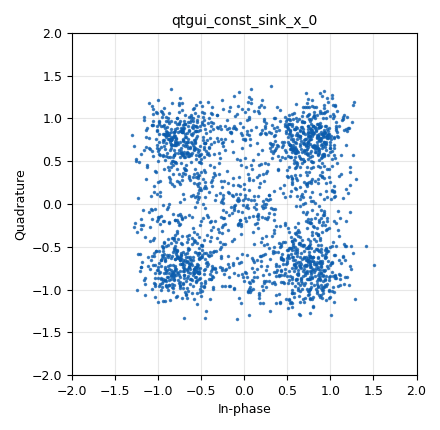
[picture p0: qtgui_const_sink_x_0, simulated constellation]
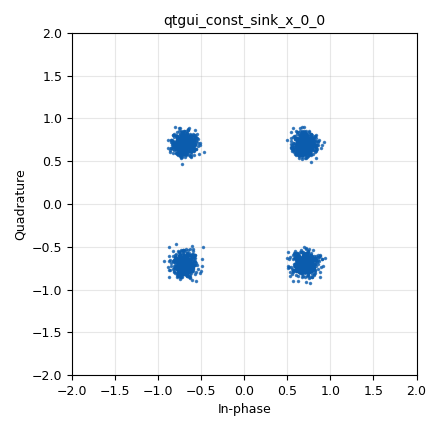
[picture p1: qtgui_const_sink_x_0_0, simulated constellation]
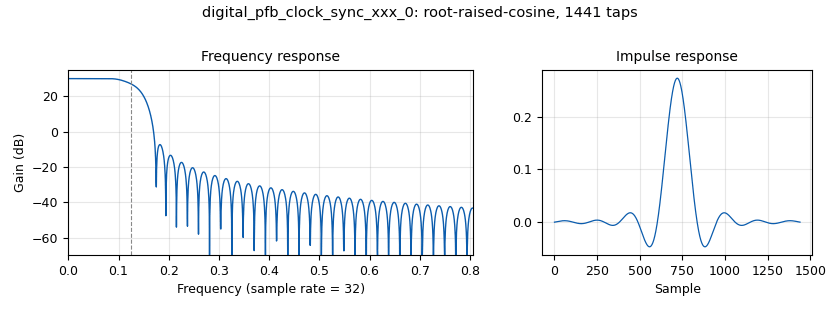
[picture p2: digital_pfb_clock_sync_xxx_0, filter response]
options:
  parameters:
    author: engineerang
    generate_options: qt_gui
    id: asd
    output_language: python
    title: Not titled yet
  states: {}

blocks:
- name: arity
  id: variable
  parameters:
    value: '4'
  states: {}
- name: excess_bw
  id: variable
  parameters:
    value: '00.35'
  states: {}
- name: freq_offset
  id: variable_qtgui_range
  parameters:
    label: 'Channel: Frequency Offset'
    start: '-0.1'
    step: '0.001'
    stop: '0.1'
    value: '0'
  states: {}
- name: nfilts
  id: variable
  parameters:
    value: '32'
  states: {}
- name: noise_volt
  id: variable_qtgui_range
  parameters:
    label: 'Channel: Noise Voltage'
    start: '0'
    step: '0.01'
    stop: '1'
    value: '0.2'
  states: {}
- name: rrc_taps
  id: variable
  parameters:
    value: firdes.root_raised_cosine(nfilts, nfilts, 1.0/float(sps), 0.35, 45*nfilts)
  states: {}
- name: samp_rate
  id: variable
  parameters:
    value: '32000'
  states: {}
- name: sps
  id: variable
  parameters:
    value: '4'
  states: {}
- name: taps
  id: variable
  parameters:
    value: '1'
  states: {}
- name: time_offset
  id: variable_qtgui_range
  parameters:
    label: 'Channel: Timing Offset '
    start: '0.999'
    step: '0.0001'
    stop: '1.001'
    value: '1.0005'
  states: {}
- name: timing_loop_bw
  id: variable_qtgui_range
  parameters:
    label: 'Time: BW'
    start: '0'
    step: '0.01'
    stop: '0.2'
    value: '0.0628'
  states: {}
- name: variable_constellation_rect_0
  id: variable_constellation_rect
  parameters:
    const_points: '[-0.707-0.707j, -0.707+0.707j, 0.707+0.707j, 0.707-0.707j]'
    imag_sect: '2'
    real_sect: '2'
    rot_sym: '4'
    sym_map: '[0, 1, 2, 3]'
    w_imag_sect: '1'
    w_real_sect: '1'
  states: {}
- name: analog_random_source_x_0
  id: analog_random_source_x
  parameters:
    max: '256'
    min: '0'
    num_samps: '10000'
    repeat: 'True'
    type: byte
  states: {}
- name: blocks_throttle_0
  id: blocks_throttle
  parameters:
    samples_per_second: samp_rate
    type: complex
  states: {}
- name: channels_channel_model_0
  id: channels_channel_model
  parameters:
    epsilon: time_offset
    freq_offset: freq_offset
    noise_voltage: noise_volt
    seed: '0'
    taps: taps
  states: {}
- name: digital_constellation_modulator_0
  id: digital_constellation_modulator
  parameters:
    constellation: variable_constellation_rect_0
    differential: 'True'
    excess_bw: excess_bw
    samples_per_symbol: '4'
  states: {}
- name: digital_pfb_clock_sync_xxx_0
  id: digital_pfb_clock_sync_xxx
  parameters:
    filter_size: nfilts
    init_phase: '16'
    loop_bw: timing_loop_bw
    max_dev: '1.5'
    osps: '1'
    sps: '4.004'
    taps: rrc_taps
    type: ccf
  states: {}
- name: qtgui_const_sink_x_0
  id: qtgui_const_sink_x
  parameters:
    size: '2048'
    type: complex
  states: {}
- name: qtgui_const_sink_x_0_0
  id: qtgui_const_sink_x
  parameters:
    size: '2048'
    type: complex
  states: {}

connections:
- [analog_random_source_x_0, '0', digital_constellation_modulator_0, '0']
- [blocks_throttle_0, '0', channels_channel_model_0, '0']
- [channels_channel_model_0, '0', digital_pfb_clock_sync_xxx_0, '0']
- [channels_channel_model_0, '0', qtgui_const_sink_x_0, '0']
- [digital_constellation_modulator_0, '0', blocks_throttle_0, '0']
- [digital_pfb_clock_sync_xxx_0, '0', qtgui_const_sink_x_0_0, '0']

metadata:
  file_format: 1
